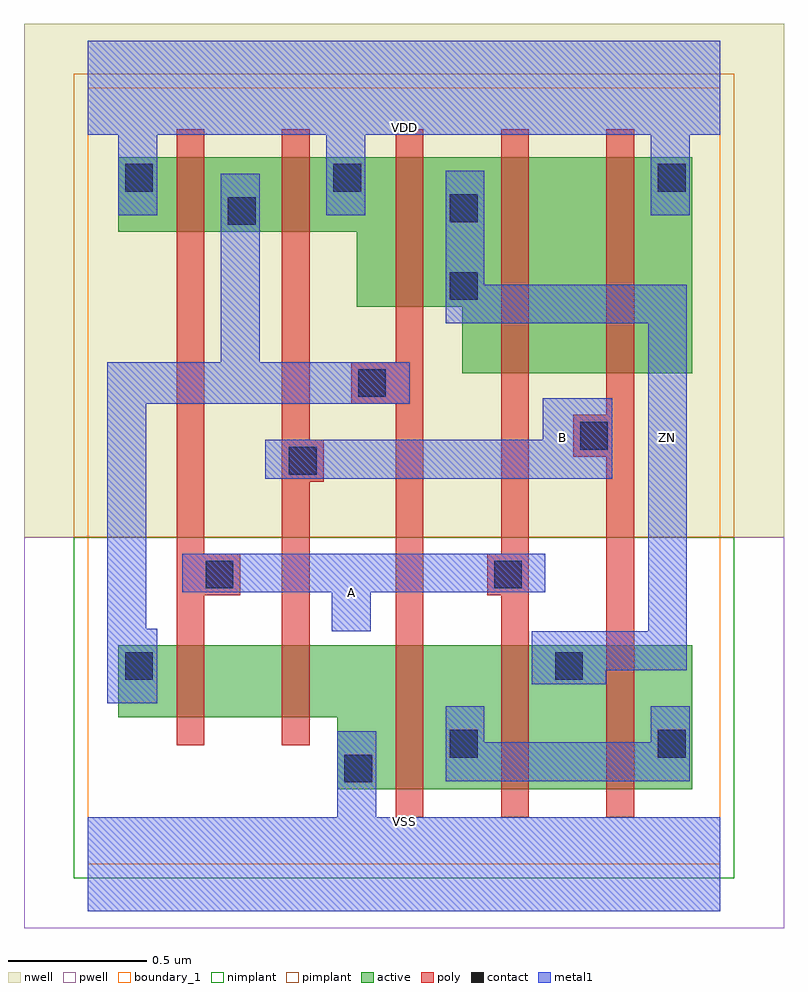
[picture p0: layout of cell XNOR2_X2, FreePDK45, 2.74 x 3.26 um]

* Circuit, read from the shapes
.subckt XNOR2_X2 A B VDD VSS ZN
M1 n1 A n2 VSUBS nfet w=0.26u l=0.1u
M2 VSS B n1 VSUBS nfet w=0.26u l=0.1u
M3 n3 n2 VSS VSUBS nfet w=0.52u l=0.1u
M4 ZN A n3 VSUBS nfet w=0.52u l=0.1u
M5 n3 B ZN VSUBS nfet w=0.52u l=0.1u
M6 n2 A VDD n4 pfet w=0.27u l=0.1u
M7 VDD B n2 n4 pfet w=0.27u l=0.1u
M8 ZN n2 VDD n4 pfet w=0.54u l=0.1u
M9 n5 A ZN n4 pfet w=0.78u l=0.1u
M10 VDD B n5 n4 pfet w=0.78u l=0.1u
.ends

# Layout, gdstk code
import gdstk
lib = gdstk.Library(unit=1e-6, precision=1e-09)
def R(c, l, rs):  # rectangles x0, y0, x1, y1
    for r in rs: c.add(gdstk.rectangle(r[:2], r[2:], *l))
def P(c, l, *ps):  # polygons
    for p in ps: c.add(gdstk.Polygon(p, *l))
active = (1, 0)
pwell = (2, 0)
nwell = (3, 0)
nimplant = (4, 0)
pimplant = (5, 0)
poly = (9, 0)
contact = (10, 0)
metal1 = (11, 0)
boundary_1 = (235, 1)

xnor2_x2 = lib.new_cell('XNOR2_X2')
P(xnor2_x2, active, [(0.11,2.28),(0.97,2.28),(0.97,2.01),(1.35,2.01),(1.35,1.77),(2.18,1.77),(2.18,2.55),(0.11,2.55)],
  [(0.11,0.53),(0.9,0.53),(0.9,0.27),(2.18,0.27),(2.18,0.79),(0.11,0.79)])
R(xnor2_x2, pwell, [(-0.23,-0.23,2.51,1.18)])
R(xnor2_x2, nwell, [(-0.23,1.18,2.51,3.03)])
R(xnor2_x2, nimplant, [(-0.05,-0.05,2.33,1.18)])
R(xnor2_x2, pimplant, [(-0.05,1.18,2.33,2.85)])
P(xnor2_x2, poly, [(1.75,1.47),(1.87,1.47),(1.87,0.17),(1.97,0.17),(1.97,2.65),(1.87,2.65),(1.87,1.62),(1.75,1.62)],
  [(1.44,0.97),(1.49,0.97),(1.49,0.17),(1.59,0.17),(1.59,2.65),(1.49,2.65),(1.49,1.12),(1.44,1.12)],
  [(0.95,1.66),(1.11,1.66),(1.11,0.17),(1.21,0.17),(1.21,2.65),(1.11,2.65),(1.11,1.81),(0.95,1.81)],
  [(0.7,0.43),(0.8,0.43),(0.8,1.38),(0.85,1.38),(0.85,1.53),(0.8,1.53),(0.8,2.65),(0.7,2.65)],
  [(0.32,0.43),(0.42,0.43),(0.42,0.97),(0.55,0.97),(0.55,1.12),(0.42,1.12),(0.42,2.65),(0.32,2.65)])
R(xnor2_x2, contact, [(0.925,0.295,1.025,0.395), (1.305,0.385,1.405,0.485), (2.055,0.385,2.155,0.485), (0.135,0.665,0.235,0.765), (1.685,0.665,1.785,0.765), (0.425,0.995,0.525,1.095), (1.465,0.995,1.565,1.095), (0.725,1.405,0.825,1.505), (1.775,1.495,1.875,1.595), (0.975,1.685,1.075,1.785), (1.305,2.035,1.405,2.135), (0.505,2.305,0.605,2.405), (1.305,2.315,1.405,2.415), (0.135,2.425,0.235,2.525), (0.885,2.425,0.985,2.525), (2.055,2.425,2.155,2.525)])
P(xnor2_x2, metal1, [(1.29,1.95),(2.02,1.95),(2.02,0.84),(1.6,0.84),(1.6,0.65),(1.87,0.65),(1.87,0.7),(2.16,0.7),(2.16,2.09),(1.43,2.09),(1.43,2.5),(1.29,2.5)],
  [(0.64,1.39),(1.89,1.39),(1.89,1.68),(1.64,1.68),(1.64,1.53),(0.64,1.53)],
  [(0,-0.17),(2.28,-0.17),(2.28,0.17),(1.04,0.17),(1.04,0.48),(0.9,0.48),(0.9,0.17),(0,0.17)],
  [(0,2.63),(0.11,2.63),(0.11,2.34),(0.25,2.34),(0.25,2.63),(0.86,2.63),(0.86,2.34),(1,2.34),(1,2.63),(2.03,2.63),(2.03,2.34),(2.17,2.34),(2.17,2.63),(2.28,2.63),(2.28,2.97),(0,2.97)],
  [(0.34,0.98),(0.88,0.98),(0.88,0.84),(1.02,0.84),(1.02,0.98),(1.65,0.98),(1.65,1.12),(0.34,1.12)],
  [(0,2.63),(0.11,2.63),(0.11,2.34),(0.25,2.34),(0.25,2.63),(0.86,2.63),(0.86,2.34),(1,2.34),(1,2.63),(2.03,2.63),(2.03,2.34),(2.17,2.34),(2.17,2.63),(2.28,2.63),(2.28,2.97),(0,2.97)],
  [(0,-0.17),(2.28,-0.17),(2.28,0.17),(1.04,0.17),(1.04,0.48),(0.9,0.48),(0.9,0.17),(0,0.17)],
  [(1.29,0.3),(2.17,0.3),(2.17,0.57),(2.03,0.57),(2.03,0.44),(1.43,0.44),(1.43,0.57),(1.29,0.57)],
  [(1.29,1.95),(2.02,1.95),(2.02,0.84),(1.6,0.84),(1.6,0.65),(1.87,0.65),(1.87,0.7),(2.16,0.7),(2.16,2.09),(1.43,2.09),(1.43,2.5),(1.29,2.5)],
  [(0.64,1.39),(1.89,1.39),(1.89,1.68),(1.64,1.68),(1.64,1.53),(0.64,1.53)],
  [(0.34,0.98),(0.88,0.98),(0.88,0.84),(1.02,0.84),(1.02,0.98),(1.65,0.98),(1.65,1.12),(0.34,1.12)],
  [(0.21,1.66),(1.16,1.66),(1.16,1.81),(0.62,1.81),(0.62,2.49),(0.48,2.49),(0.48,1.81),(0.07,1.81),(0.07,0.58),(0.25,0.58),(0.25,0.85),(0.21,0.85)])
R(xnor2_x2, boundary_1, [(0,0,2.28,2.8)])
xnor2_x2.add(gdstk.Label('ZN', (2.09,1.54), layer=11, texttype=0))
xnor2_x2.add(gdstk.Label('VSS', (1.14,0.155), layer=11, texttype=0))
xnor2_x2.add(gdstk.Label('VDD', (1.14,2.655), layer=11, texttype=0))
xnor2_x2.add(gdstk.Label('B', (1.71,1.54), layer=11, texttype=0))
xnor2_x2.add(gdstk.Label('A', (0.95,0.98), layer=11, texttype=0))

lib.write_gds('XNOR2_X2.gds')
